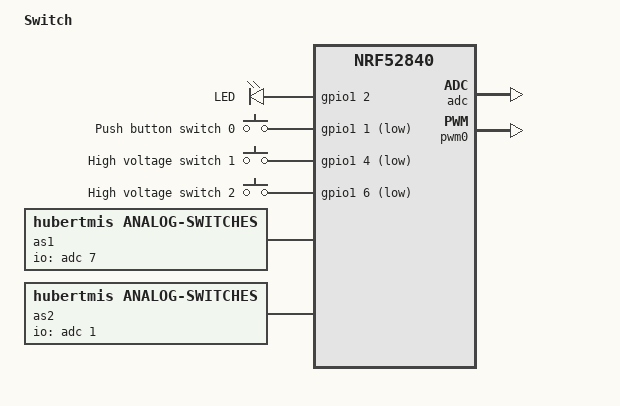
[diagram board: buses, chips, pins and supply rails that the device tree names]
/*
 * Copyright (c) 2022 Hubert Miś
 *
 * SPDX-License-Identifier: Apache-2.0
 */

/dts-v1/;
#include <nordic/nrf52840_qiaa.dtsi>

/ {
	model = "Switch";
	compatible = "hubertmis,switch";

	chosen {
		zephyr,sram = &sram0;
		zephyr,flash = &flash0;
		zephyr,code-partition = &slot0_partition;
	};

    leds {
        compatible = "gpio-leds";
        led: led_0 {
            gpios = <&gpio1 2 GPIO_ACTIVE_HIGH>;
            label = "LED";
        };
    };

    buttons {
        compatible = "gpio-keys";
        button0: button_0 {
            gpios = <&gpio1 1 (GPIO_PULL_UP | GPIO_ACTIVE_LOW)>;
            label = "Push button switch 0";
        };
        sw1: button_1 {
            gpios = <&gpio1 4 (GPIO_ACTIVE_LOW)>;
            label = "High voltage switch 1";
        };
        sw2: button_2 {
            gpios = <&gpio1 6 (GPIO_ACTIVE_LOW)>;
            label = "High voltage switch 2";
        };
    };

    as1: analog_switch1 {
        compatible = "hubertmis,analog-switches";
        io-channels = <&adc 7>;
        status = "okay";
    };
    as2: analog_switch2 {
        compatible = "hubertmis,analog-switches";
        io-channels = <&adc 1>;
        status = "okay";
    };

    /*
    * In some default configurations within the nRF Connect SDK,
    * e.g. on nRF52840, the chosen zephyr,entropy node is &cryptocell.
    * This devicetree overlay ensures that default is overridden wherever it
    * is set, as this application uses the RNG node for entropy exclusively.
    */
    chosen {
        zephyr,entropy = &rng;
    };

    /* These aliases are provided for compatibility with samples */
/*
    aliases {
        red-pwm-led = &red_pwm_led;
        green-pwm-led = &green_pwm_led;
        blue-pwm-led = &blue_pwm_led;
        white-pwm-led = &white_pwm_led;
    };
*/
};

&adc {
	status = "okay";
};

&gpiote {
	status = "okay";
};

&gpio0 {
	status = "okay";
};

&gpio1 {
	status = "okay";
};

&pwm0 {
    status = "okay";
    ch0-pin = <18>;
    ch0-inverted;
    ch1-pin = <19>;
    ch1-inverted;
    ch2-pin = <21>;
    ch2-inverted;
    ch3-pin = <23>;
    ch3-inverted;
};

&flash0 {

	partitions {
		compatible = "fixed-partitions";
		#address-cells = <1>;
		#size-cells = <1>;

		boot_partition: partition@0 {
			label = "mcuboot";
			reg = <0x000000000 0x0000C000>;
		};
		slot0_partition: partition@c000 {
			label = "image-0";
			reg = <0x0000C000 0x00067000>;
		};
		slot1_partition: partition@73000 {
			label = "image-1";
			reg = <0x00073000 0x00067000>;
		};
		scratch_partition: partition@da000 {
			label = "image-scratch";
			reg = <0x000da000 0x0001e000>;
		};

		/*
		 * The flash starting at 0x000f8000 and ending at
		 * 0x000fffff is reserved for use by the application.
		 */

		/*
		 * Storage partition will be used by FCB/LittleFS/NVS
		 * if enabled.
		 */
		storage_partition: partition@f8000 {
			label = "storage";
			reg = <0x000f8000 0x00008000>;
		};
	};
};
